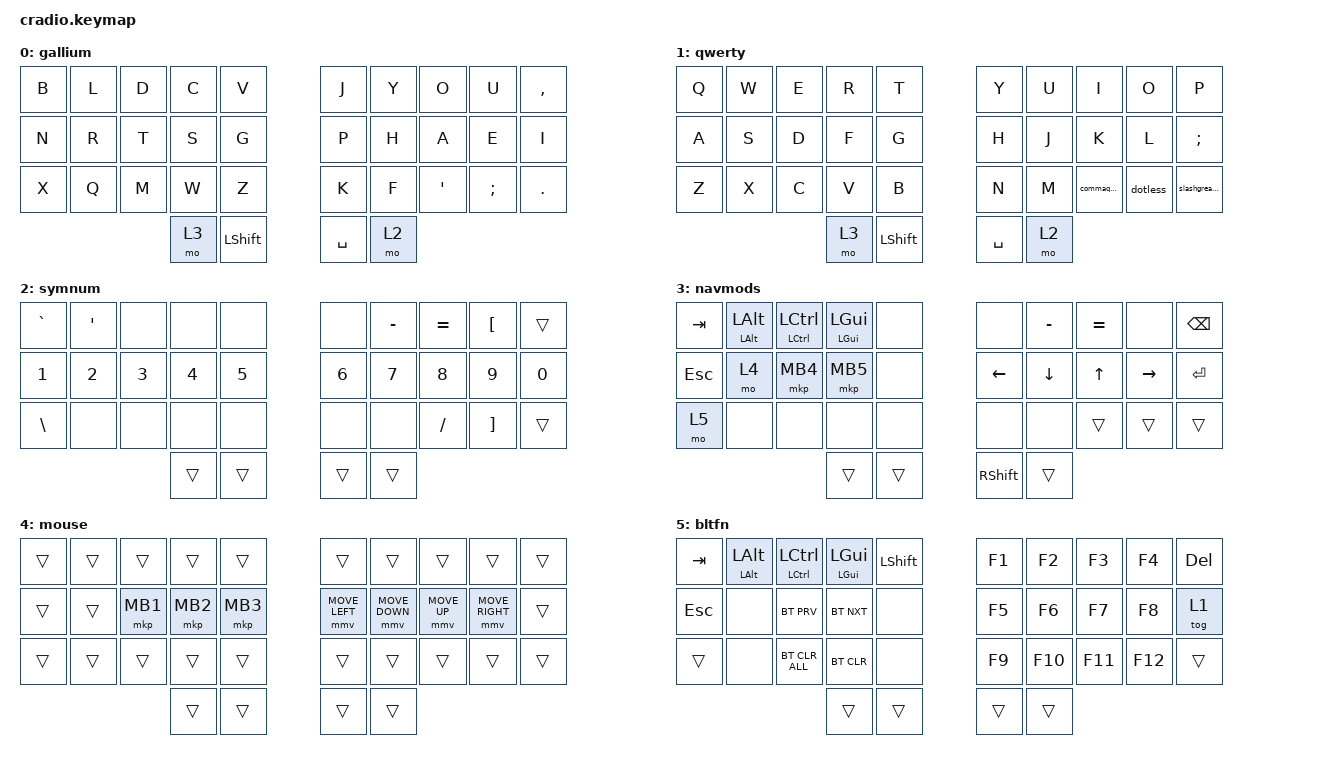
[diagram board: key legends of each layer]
#define ZMK_POINTING_DEFAULT_MOVE_VAL 1200

#include <behaviors.dtsi>
#include <dt-bindings/zmk/bt.h>
#include <dt-bindings/zmk/keys.h>
#include <dt-bindings/zmk/pointing.h>

/ {
    behaviors {
        commaqmrk: commaqmrk {
            compatible = "zmk,behavior-mod-morph";
            label = "COMMAQMRK";
            bindings = <&kp COMMA>, <&kp QUESTION>;

            #binding-cells = <0>;
            mods = <(MOD_LSFT|MOD_RSFT)>;
        };

        dotless: dotless {
            compatible = "zmk,behavior-mod-morph";
            label = "DOTLESS";
            bindings = <&kp PERIOD>, <&kp LESS_THAN>;

            #binding-cells = <0>;
            mods = <(MOD_LSFT|MOD_RSFT)>;
        };

        slashgreater: slashgreater {
            compatible = "zmk,behavior-mod-morph";
            label = "SLASHGREATER";
            bindings = <&kp SLASH>, <&kp GREATER_THAN>;

            #binding-cells = <0>;
            mods = <(MOD_LSFT|MOD_RSFT)>;
        };

        stickyhold: stickyhold {
            compatible = "zmk,behavior-hold-tap";
            label = "STICKYHOLD";
            bindings = <&kp>, <&sk>;

            #binding-cells = <2>;
            tapping-term-ms = <300>;
        };
    };

    keymap {
        compatible = "zmk,keymap";

        gallium {
            bindings = <
&kp B  &kp L  &kp D  &kp C  &kp V        &kp J      &kp Y  &kp O     &kp U     &kp COMMA
&kp N  &kp R  &kp T  &kp S  &kp G        &kp P      &kp H  &kp A     &kp E     &kp I
&kp X  &kp Q  &kp M  &kp W  &kp Z        &kp K      &kp F  &kp APOS  &kp SEMI  &kp DOT
                     &mo 3  &kp LSHFT    &kp SPACE  &mo 2
            >;
        };

        qwerty {
            bindings = <
&kp Q  &kp W  &kp E  &kp R  &kp T        &kp Y      &kp U  &kp I       &kp O     &kp P
&kp A  &kp S  &kp D  &kp F  &kp G        &kp H      &kp J  &kp K       &kp L     &kp SEMI
&kp Z  &kp X  &kp C  &kp V  &kp B        &kp N      &kp M  &commaqmrk  &dotless  &slashgreater
                     &mo 3  &kp LSHFT    &kp SPACE  &mo 2
            >;
        };

        symnum {
            bindings = <
&kp GRAVE  &kp APOSTROPHE  &none   &none   &none     &none   &kp MINUS  &kp EQUAL  &kp LBKT           &trans
&kp N1     &kp N2          &kp N3  &kp N4  &kp N5    &kp N6  &kp N7     &kp N8     &kp N9             &kp N0
&kp BSLH   &none           &none   &none   &none     &none   &none      &kp SLASH  &kp RIGHT_BRACKET  &trans
                                   &trans  &trans    &trans  &trans
            >;
        };

        navmods {
            bindings = <
&kp TAB  &stickyhold LEFT_ALT LEFT_ALT  &stickyhold LCTRL LCTRL  &stickyhold LEFT_GUI LEFT_GUI  &none     &none            &kp MINUS       &kp EQUAL     &none            &kp BACKSPACE
&kp ESC  &mo 4                          &mkp MB4                 &mkp MB5                       &none     &kp LEFT_ARROW   &kp DOWN_ARROW  &kp UP_ARROW  &kp RIGHT_ARROW  &kp ENTER
&mo 5    &none                          &none                    &none                          &none     &none            &none           &trans        &trans           &trans
                                                                 &trans                         &trans    &kp RIGHT_SHIFT  &trans
            >;
        };

        mouse {
            bindings = <
&trans  &trans  &trans    &trans    &trans      &trans          &trans          &trans        &trans           &trans
&trans  &trans  &mkp MB1  &mkp MB2  &mkp MB3    &mmv MOVE_LEFT  &mmv MOVE_DOWN  &mmv MOVE_UP  &mmv MOVE_RIGHT  &trans
&trans  &trans  &trans    &trans    &trans      &trans          &trans          &trans        &trans           &trans
                          &trans    &trans      &trans          &trans
            >;
        };

        bltfn {
            bindings = <
&kp TAB     &stickyhold LALT LALT  &stickyhold LCTRL LCTRL  &stickyhold LGUI LEFT_GUI  &kp LSHFT    &kp F1  &kp F2   &kp F3   &kp F4   &kp DELETE
&kp ESCAPE  &none                  &bt BT_PRV               &bt BT_NXT                 &none        &kp F5  &kp F6   &kp F7   &kp F8   &tog 1
&trans      &none                  &bt BT_CLR_ALL           &bt BT_CLR                 &none        &kp F9  &kp F10  &kp F11  &kp F12  &trans
                                                            &trans                     &trans       &trans  &trans
            >;
        };
    };
};
